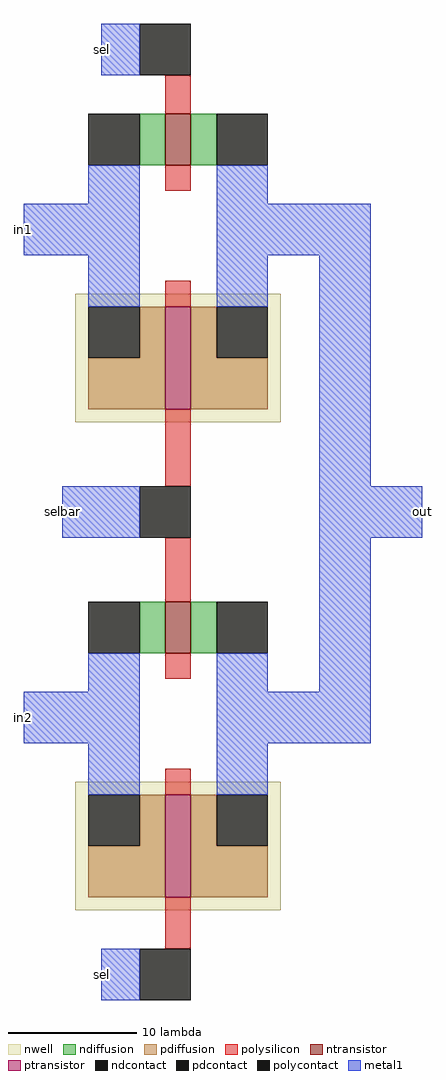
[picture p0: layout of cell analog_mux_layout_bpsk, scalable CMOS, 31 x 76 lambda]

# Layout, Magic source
magic
tech scmos
<< nwell >>
rect -6 18 10 28
rect -6 -20 10 -10
<< polysilicon >>
rect 1 42 3 45
rect 1 36 3 38
rect 1 27 3 29
rect 1 13 3 19
rect 1 4 3 9
rect 1 -2 3 0
rect 1 -11 3 -9
rect 1 -23 3 -19
<< ndiffusion >>
rect -1 38 1 42
rect 3 38 5 42
rect -1 0 1 4
rect 3 0 5 4
<< pdiffusion >>
rect -1 23 1 27
rect -5 19 1 23
rect 3 23 5 27
rect 3 19 9 23
rect -1 -15 1 -11
rect -5 -19 1 -15
rect 3 -15 5 -11
rect 3 -19 9 -15
<< metal1 >>
rect -4 45 -1 49
rect -5 35 -1 38
rect -10 31 -1 35
rect -5 27 -1 31
rect 5 35 9 38
rect 5 31 17 35
rect 5 27 9 31
rect 13 13 17 31
rect -7 9 -1 13
rect 13 9 21 13
rect -5 -3 -1 0
rect -10 -7 -1 -3
rect -5 -11 -1 -7
rect 5 -3 9 0
rect 13 -3 17 9
rect 5 -7 17 -3
rect 5 -11 9 -7
rect -4 -27 -1 -23
<< ntransistor >>
rect 1 38 3 42
rect 1 0 3 4
<< ptransistor >>
rect 1 19 3 27
rect 1 -19 3 -11
<< polycontact >>
rect -1 45 3 49
rect -1 9 3 13
rect -1 -27 3 -23
<< ndcontact >>
rect -5 38 -1 42
rect 5 38 9 42
rect -5 0 -1 4
rect 5 0 9 4
<< pdcontact >>
rect -5 23 -1 27
rect 5 23 9 27
rect -5 -15 -1 -11
rect 5 -15 9 -11
<< labels >>
rlabel metal1 -10 31 -10 35 3 in1
rlabel metal1 -10 -7 -10 -3 3 in2
rlabel metal1 -7 9 -7 13 3 selbar
rlabel metal1 -4 -27 -4 -23 1 sel
rlabel metal1 -4 45 -4 49 1 sel
rlabel metal1 21 9 21 13 7 out
<< end >>
